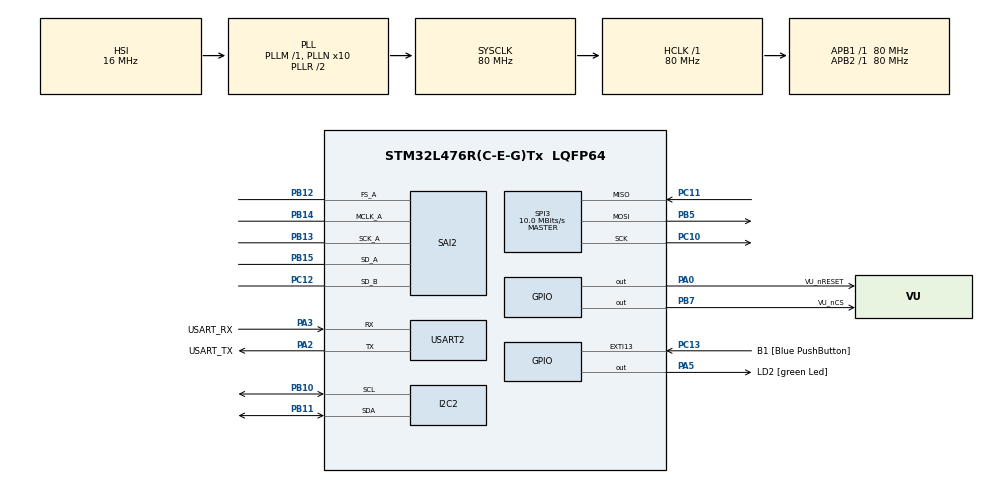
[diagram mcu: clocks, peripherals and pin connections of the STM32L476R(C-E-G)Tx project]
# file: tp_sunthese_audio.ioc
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Dma.Request0=SAI2_A
Dma.Request1=SAI2_B
Dma.SAI2_A.0.Direction=DMA_MEMORY_TO_PERIPH
Dma.SAI2_A.0.Instance=DMA1_Channel6
Dma.SAI2_A.0.MemDataAlignment=DMA_MDATAALIGN_WORD
Dma.SAI2_A.0.MemInc=DMA_MINC_ENABLE
Dma.SAI2_A.0.Mode=DMA_CIRCULAR
Dma.SAI2_A.0.PeriphDataAlignment=DMA_PDATAALIGN_WORD
Dma.SAI2_A.0.PeriphInc=DMA_PINC_DISABLE
Dma.SAI2_A.0.Priority=DMA_PRIORITY_HIGH
Dma.SAI2_B.1.Direction=DMA_PERIPH_TO_MEMORY
Dma.SAI2_B.1.Instance=DMA1_Channel7
Dma.SAI2_B.1.MemDataAlignment=DMA_MDATAALIGN_WORD
Dma.SAI2_B.1.MemInc=DMA_MINC_ENABLE
Dma.SAI2_B.1.Mode=DMA_NORMAL
Dma.SAI2_B.1.PeriphDataAlignment=DMA_PDATAALIGN_WORD
Dma.SAI2_B.1.PeriphInc=DMA_PINC_DISABLE
Dma.SAI2_B.1.Priority=DMA_PRIORITY_LOW
FREERTOS.Tasks01=defaultTask,0,128,StartDefaultTask,Default,NULL,Dynamic,NULL,NULL
FREERTOS.configUSE_NEWLIB_REENTRANT=1
I2C2.Timing=0x10D19CE4
Mcu.Family=STM32L4
Mcu.Name=STM32L476R(C-E-G)Tx
Mcu.Package=LQFP64
NVIC.DMA1_Channel6_IRQn=true\:5\:0\:false\:false\:true\:true\:false\:true\:true
NVIC.DMA1_Channel7_IRQn=true\:5\:0\:false\:false\:true\:true\:false\:true\:true
NVIC.PriorityGroup=NVIC_PRIORITYGROUP_4
NVIC.SAI2_IRQn=true\:5\:0\:false\:false\:true\:true\:true\:true\:true
NVIC.TIM7_IRQn=true\:15\:0\:false\:false\:true\:false\:false\:true\:true
NVIC.TimeBase=TIM7_IRQn
NVIC.TimeBaseIP=TIM7
NVIC.USART2_IRQn=true\:5\:0\:false\:false\:true\:true\:true\:true\:true
PA0.GPIO_Label=VU_nRESET
PA0.PinState=GPIO_PIN_SET
PA0.Signal=GPIO_Output
PA10.Signal=USART1_RX
PA13\ (JTMS-SWDIO).GPIO_Label=TMS
PA13\ (JTMS-SWDIO).Mode=Serial_Wire
PA13\ (JTMS-SWDIO).Signal=SYS_JTMS-SWDIO
PA14\ (JTCK-SWCLK).GPIO_Label=TCK
PA14\ (JTCK-SWCLK).Mode=Serial_Wire
PA14\ (JTCK-SWCLK).Signal=SYS_JTCK-SWCLK
PA2.GPIO_Label=USART_TX
PA2.GPIO_Mode=GPIO_MODE_AF_PP
PA2.GPIO_PuPd=GPIO_NOPULL
PA2.GPIO_Speed=GPIO_SPEED_FREQ_VERY_HIGH
PA2.Mode=Asynchronous
PA2.Signal=USART2_TX
PA3.GPIO_Label=USART_RX
PA3.GPIO_Mode=GPIO_MODE_AF_PP
PA3.GPIO_PuPd=GPIO_NOPULL
PA3.GPIO_Speed=GPIO_SPEED_FREQ_VERY_HIGH
PA3.Mode=Asynchronous
PA3.Signal=USART2_RX
PA5.GPIO_Label=LD2 [green Led]
PA5.GPIO_ModeDefaultOutputPP=GPIO_MODE_OUTPUT_PP
PA5.GPIO_PuPd=GPIO_NOPULL
PA5.GPIO_Speed=GPIO_SPEED_FREQ_LOW
PA5.Signal=GPIO_Output
PA9.Signal=USART1_TX
PB10.Mode=I2C
PB10.Signal=I2C2_SCL
PB11.Mode=I2C
PB11.Signal=I2C2_SDA
PB12.Mode=SAI_A_MasterWithClock
PB12.Signal=SAI2_FS_A
PB13.Mode=SAI_A_MasterWithClock
PB13.Signal=SAI2_SCK_A
PB14.Mode=SAI_A_MasterWithClock
PB14.Signal=SAI2_MCLK_A
PB15.Mode=SAI_A_MasterWithClock
PB15.Signal=SAI2_SD_A
PB3\ (JTDO-TRACESWO).GPIO_Label=SWO
PB3\ (JTDO-TRACESWO).Signal=SYS_JTDO-SWO
PB5.Mode=Full_Duplex_Master
PB5.Signal=SPI3_MOSI
PB7.GPIO_Label=VU_nCS
PB7.PinState=GPIO_PIN_SET
PB7.Signal=GPIO_Output
PC10.Mode=Full_Duplex_Master
PC10.Signal=SPI3_SCK
PC11.Mode=Full_Duplex_Master
PC11.Signal=SPI3_MISO
PC12.Mode=SAI_B_SyncSlave
PC12.Signal=SAI2_SD_B
PC13.GPIO_Label=B1 [Blue PushButton]
PC13.GPIO_ModeDefaultEXTI=GPIO_MODE_IT_FALLING
PC13.GPIO_PuPd=GPIO_NOPULL
PC13.Signal=GPXTI13
PC14-OSC32_IN\ (PC14).Mode=LSE-External-Oscillator
PC14-OSC32_IN\ (PC14).Signal=RCC_OSC32_IN
PC15-OSC32_OUT\ (PC15).Mode=LSE-External-Oscillator
PC15-OSC32_OUT\ (PC15).Signal=RCC_OSC32_OUT
PH0-OSC_IN\ (PH0).Signal=RCC_OSC_IN
PH1-OSC_OUT\ (PH1).Signal=RCC_OSC_OUT
ProjectManager.HeapSize=0x200
ProjectManager.StackSize=0x400
ProjectManager.TargetToolchain=STM32CubeIDE
RCC.ADCFreq_Value=104000000
RCC.AHBFreq_Value=80000000
RCC.APB1Freq_Value=80000000
RCC.APB1TimFreq_Value=80000000
RCC.APB2Freq_Value=80000000
RCC.APB2TimFreq_Value=80000000
RCC.CortexFreq_Value=80000000
RCC.HCLKFreq_Value=80000000
RCC.HSE_VALUE=8000000
RCC.HSI_VALUE=16000000
RCC.MSI_VALUE=4000000
RCC.PLLN=10
RCC.PLLSAI1N=13
RCC.PLLSAI1P=RCC_PLLP_DIV17
RCC.PLLSourceVirtual=RCC_PLLSOURCE_HSI
RCC.PREFETCH_ENABLE=1
RCC.SYSCLKFreq_VALUE=80000000
RCC.SYSCLKSource=RCC_SYSCLKSOURCE_PLLCLK
RCC.USBFreq_Value=104000000
RCC.VCOOutputFreq_Value=160000000
SAI2.AudioFrequency-SAI_A_MasterWithClock=SAI_AUDIO_FREQUENCY_48K
SAI2.ErrorAudioFreq-SAI_A_MasterWithClock=-0.42 %
SAI2.InitProtocol-SAI_A_MasterWithClock=Enable
SAI2.InitProtocol-SAI_B_SyncSlave=Enable
SAI2.Instance-SAI_A_MasterWithClock=SAI$Index_Block_A
SAI2.Instance-SAI_B_SyncSlave=SAI$Index_Block_B
SAI2.MClockEnable-SAI_A_MasterWithClock=SAI_MASTERCLOCK_ENABLE
SAI2.RealAudioFreq-SAI_A_MasterWithClock=47.794 KHz
SAI2.VirtualMode-SAI_A_MasterWithClock=VM_MASTER
SAI2.VirtualMode-SAI_B_SyncSlave=VM_SLAVE
SAI2.VirtualProtocol-SAI_A_BASIC=VM_BASIC_PROTOCOL
SAI2.VirtualProtocol-SAI_B_BASIC=VM_BASIC_PROTOCOL
SPI3.BaudRatePrescaler=SPI_BAUDRATEPRESCALER_8
SPI3.CalculateBaudRate=10.0 MBits/s
SPI3.DataSize=SPI_DATASIZE_8BIT
SPI3.Direction=SPI_DIRECTION_2LINES
SPI3.Mode=SPI_MODE_MASTER
SPI3.VirtualType=VM_MASTER
USART2.VirtualMode-Asynchronous=VM_ASYNC
VP_FREERTOS_VS_CMSIS_V1.Mode=CMSIS_V1
VP_SAI2_VP_$IpInstance_SAIA_SAI_BASIC.Mode=SAI_A_BASIC
VP_SAI2_VP_$IpInstance_SAIB_SAI_BASIC.Mode=SAI_B_BASIC
VP_SYS_VS_tim7.Mode=TIM7
board=NUCLEO-L476RG

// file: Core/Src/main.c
/* USER CODE BEGIN Header */
/**
 ******************************************************************************
 * @file           : main.c
 * @brief          : Main program body
 ******************************************************************************
 * @attention
 *
 * Copyright (c) 2025 STMicroelectronics.
 * All rights reserved.
 *
 * This software is licensed under terms that can be found in the LICENSE file
 * in the root directory of this software component.
 * If no LICENSE file comes with this software, it is provided AS-IS.
 *
 ******************************************************************************
 */
/* USER CODE END Header */
#include "main.h"
#include "cmsis_os.h"
#include "dma.h"
#include "i2c.h"
#include "sai.h"
#include "spi.h"
#include "usart.h"
#include "gpio.h"

/* USER CODE BEGIN Includes */
#include <string.h>
#include <stdio.h>
#include "shell.h"
#include "drv_usart2.h"
#include"led.h"
#include "sgtl5000.h"
#include <math.h>
/* USER CODE END Includes */

/* USER CODE BEGIN PTD */
I2C_HandleTypeDef h_i2c2;
h_sgtl5000_t sgtl5000_handle;
LED_Driver_t led_driver;
extern SPI_HandleTypeDef hspi3;
/* USER CODE END PTD */

/* USER CODE BEGIN PD */
#define AUDIO_BLOCK_SIZE 24
#define AUDIO_BUFFER_SIZE (AUDIO_BLOCK_SIZE * 4)

// Defines for triangular wave generation
#define SAMPLE_RATE_HZ 48000
#define TRIANGLE_TEST_FREQ_HZ 440
#define TRIANGLE_MAX_AMPLITUDE 15000
#define TRIANGLE_STEP ((2 * TRIANGLE_MAX_AMPLITUDE) / (SAMPLE_RATE_HZ / TRIANGLE_TEST_FREQ_HZ))

/* USER CODE END PD */

/* USER CODE BEGIN PV */
uint8_t rxbuffer;
SemaphoreHandle_t uartRxSemaphore;
h_shell_t h_shell;
uint16_t audio_tx_buffer[AUDIO_BUFFER_SIZE];
uint16_t audio_rx_buffer[AUDIO_BUFFER_SIZE];

// Global variables for triangle wave generation
int16_t triangle_current_value = 0;
int8_t triangle_direction = 1;

/* USER CODE END PV */

void SystemClock_Config(void);
void PeriphCommonClock_Config(void);
void MX_FREERTOS_Init(void);

/* USER CODE BEGIN 0 */
int __io_putchar(int chr)
{
	HAL_UART_Transmit(&huart2, (uint8_t*) &chr, 1, HAL_MAX_DELAY);
	return chr;
}

//*******QUESTION 6 ********
/*TaskHandle_t h_shell_task;

void ShellTask(void  * argument)
{

	shell_init();
	shell_run();

}
 */
void HAL_UART_RxCpltCallback(UART_HandleTypeDef *huart)
{
	if (huart->Instance == USART2)
	{
		BaseType_t xHigherPriorityTaskWoken = pdFALSE;

		xSemaphoreGiveFromISR(uartRxSemaphore, &xHigherPriorityTaskWoken);
		HAL_UART_Receive_IT(&huart2, &rxbuffer, 1);

		portYIELD_FROM_ISR(xHigherPriorityTaskWoken);
	}
}
int fonction(h_shell_t * h_shell, int argc, char ** argv)
{
	int size = snprintf (h_shell->print_buffer, BUFFER_SIZE, "Je suis une fonction bidon\r\n");
	h_shell->drv.transmit(h_shell->print_buffer, size);

	return 0;
}

void init_shell(void *unused)
{
	h_shell.drv.receive = drv_uart2_receive;
	h_shell.drv.transmit = drv_uart2_transmit;

	shell_init(&h_shell);
	shell_add(&h_shell, 'l', shell_control_led, "Control LEDs: l <port> <pin> <state>");

	const char *startup_msg = "\r\nType commands:\r\n";
	h_shell.drv.transmit(startup_msg, strlen(startup_msg));
}

void Task_control_Led(void *argument)
{

	LED_Driver_Init(&led_driver);
	init_shell(NULL);
	shell_run(&h_shell);
}

void Task_Chenillard(void *unused)
{

	LED_Driver_Init(&led_driver);
	printf("\r\n Chenillard dans une task\r\n");
	while(1){
		led_driver.chenillard();
	}
}

void task_read_CHIP_ID(void *unused) {
	uint8_t SGTL5000_I2C_ADDR = 0x14;
	uint8_t CHIP_ID_Value[2];
	uint16_t CHIP_ID_Reg = 0x0000;
	while(1){
		HAL_StatusTypeDef status = HAL_I2C_Mem_Read(&hi2c2, SGTL5000_I2C_ADDR,
				CHIP_ID_Reg, I2C_MEMADD_SIZE_16BIT,
				CHIP_ID_Value, 2, 1000);

		if (status == HAL_OK) {
			printf("CHIP_ID = 0x%02X%02X\n", CHIP_ID_Value[0], CHIP_ID_Value[1]);
		} else {
			printf("Erreur de lecture CHIP_ID : %d\n", status);
		}
		HAL_Delay(500);
	}
}

void sgtl5000Init(void)
{
	sgtl5000_handle.hi2c = &hi2c2; // Correction: Utilisation de hi2c2 généré par CubeMX
	sgtl5000_handle.i2c_address = 0x14;

	HAL_StatusTypeDef ret = sgtl5000_init(&sgtl5000_handle);
	if (ret == HAL_OK) {
		printf("SGTL5000 initialized successfully!\r\n");
		HAL_Delay(100);
	} else {
		printf("SGTL5000 initialization failed. Error: %d\r\n", ret);
	}
}

// ---------- SAI Transmit Half-Complete Callback (LOGIQUE AMIE ADAPTÉE) ----------
void HAL_SAI_TxHalfCpltCallback(SAI_HandleTypeDef *hsai)
{
	if (hsai->Instance == SAI2_Block_A)
	{

		for (int i = 0; i < AUDIO_BLOCK_SIZE; i++) {
			// Generate triangle wave for current sample
			triangle_current_value += triangle_direction * TRIANGLE_STEP;

			if (triangle_current_value >= TRIANGLE_MAX_AMPLITUDE) {
				triangle_current_value = TRIANGLE_MAX_AMPLITUDE;
				triangle_direction = -1;
			} else if (triangle_current_value <= -TRIANGLE_MAX_AMPLITUDE) {
				triangle_current_value = -TRIANGLE_MAX_AMPLITUDE;
				triangle_direction = 1;
			}
			uint16_t output_sample = (uint16_t)triangle_current_value;

			// Fill both left and right channels with the same sample
			audio_tx_buffer[(2 * i)] = output_sample;     // Left Channel
			audio_tx_buffer[(2 * i) + 1] = output_sample; // Right Channel
		}
	}
}

// SAI Transmit Complete Callback
void HAL_SAI_TxCpltCallback(SAI_HandleTypeDef *hsai)
{
	if (hsai->Instance == SAI2_Block_A)
	{

		for (int i = 0; i < AUDIO_BLOCK_SIZE; i++) {
			// Generate triangle wave for current sample
			triangle_current_value += triangle_direction * TRIANGLE_STEP;

			if (triangle_current_value >= TRIANGLE_MAX_AMPLITUDE) {
				triangle_current_value = TRIANGLE_MAX_AMPLITUDE; // Cap at max
				triangle_direction = -1; // Change direction to falling
			} else if (triangle_current_value <= -TRIANGLE_MAX_AMPLITUDE) {
				triangle_current_value = -TRIANGLE_MAX_AMPLITUDE; // Cap at min
				triangle_direction = 1; // Change direction to rising
			}

			uint16_t output_sample = (uint16_t)triangle_current_value;

			// Fill both left and right channels with the same sample
			audio_tx_buffer[AUDIO_BLOCK_SIZE * 2 + (2 * i)] = output_sample;     // Left Channel
			audio_tx_buffer[AUDIO_BLOCK_SIZE * 2 + (2 * i) + 1] = output_sample; // Right Channel
		}
	}
}

void HAL_SAI_RxHalfCpltCallback(SAI_HandleTypeDef *hsai)
{
  if (hsai->Instance == SAI2_Block_B)
  {
    // Process the first half of the RX buffer
    // Copy first half of RX buffer to first half of TX buffer
    for (int i = 0; i < AUDIO_BLOCK_SIZE * 2; i++) {
        audio_tx_buffer[i] = audio_rx_buffer[i];
    }
  }
}

void HAL_SAI_RxCpltCallback(SAI_HandleTypeDef *hsai)
{
  if (hsai->Instance == SAI2_Block_B)
  {
    // Process the second half of the RX buffer
    // Copy second half of RX buffer to second half of TX buffer
    for (int i = 0; i < AUDIO_BLOCK_SIZE * 2; i++) {
        audio_tx_buffer[AUDIO_BLOCK_SIZE * 2 + i] = audio_rx_buffer[AUDIO_BLOCK_SIZE * 2 + i];
    }
  }
}
/* USER CODE END 0 */

int main(void)
{

  /* MCU Configuration--------------------------------------------------------*/

  /* Reset of all peripherals, Initializes the Flash interface and the Systick. */
  HAL_Init();

  /* Configure the system clock */
  SystemClock_Config();

  /* Configure the peripherals common clocks */
  PeriphCommonClock_Config();

  /* Initialize all configured peripherals */
  MX_GPIO_Init();
  MX_DMA_Init();
  MX_USART2_UART_Init();
  MX_SPI3_Init();
  MX_SAI2_Init();
  MX_I2C2_Init();
  /* USER CODE BEGIN 2 */
	__HAL_SAI_ENABLE(&hsai_BlockA2);
	init_MCP23017();
	//LED_Driver_Init(&led_driver);
	sgtl5000_handle.hi2c = &hi2c2;
	sgtl5000_handle.i2c_address = SGTL5000_I2C_ADDR_WRITE;
	sgtl5000_init(&sgtl5000_handle);

	// Start SAI DMA transfers
	HAL_SAI_Transmit_DMA(&hsai_BlockA2, (uint8_t*)audio_tx_buffer, AUDIO_BUFFER_SIZE);
	HAL_SAI_Receive_DMA(&hsai_BlockB2, (uint8_t*)audio_rx_buffer, AUDIO_BUFFER_SIZE);

	//*******QUESTION 4 ********
	//printf("Test printf sur USART2 !\r\n");

	//*******QUESTION 6 ********
	/*

	if (xTaskCreate(ShellTask,"shell", 256, NULL,1, &h_shell_task)!=pdPASS)
	{
		printf("error creation task shell\r\n");
		Error_Handler();
	}

	uartRxSemaphore = xSemaphoreCreateBinary();
	if (uartRxSemaphore == NULL)
	{
	    Error_Handler();
	}

	vTaskStartScheduler();*/

	/*h_shell.drv.receive = drv_uart2_receive;
	h_shell.drv.transmit = drv_uart2_transmit;

	shell_init(&h_shell);
	shell_add(&h_shell, 'f', fonction, "Une fonction inutile");
	shell_run(&h_shell);*/

	//xTaskCreate(Task_Chenillard,"Task_Chenillard", 256, NULL, 1, NULL);
	//xTaskCreate(Task_control_Led,"Task_control_led", 256, NULL, 2, NULL);
	//xTaskCreate(task_read_CHIP_ID, "Read_CHIP_ID", 256, NULL, 3, NULL);

  /* USER CODE END 2 */

  /* Call init function for freertos objects (in cmsis_os2.c) */
  MX_FREERTOS_Init();

  /* Start scheduler */
  osKernelStart();

  /* We should never get here as control is now taken by the scheduler */

  /* Infinite loop */
	while (1)
	{

    /* USER CODE BEGIN 3 */

		/*QUESTION 2 ********
		HAL_GPIO_WritePin(GPIOA,GPIO_PIN_5, GPIO_PIN_SET);
		HAL_Delay(1000);
		HAL_GPIO_WritePin(GPIOA,GPIO_PIN_5, GPIO_PIN_RESET);
		HAL_Delay(1000);*/

		/*=============================================TEST LEDS SANS STRUCTURE==============================================================
		Blink_All_LEDs();
		LED_Chenillard();*/

		/*=============================================TEST LEDS AVEC STRUCTURE=============================================================*/

		//led_driver.blink_all();
	}
  /* USER CODE END 3 */
}

void SystemClock_Config(void)
{
  RCC_OscInitTypeDef RCC_OscInitStruct = {0};
  RCC_ClkInitTypeDef RCC_ClkInitStruct = {0};

  /** Configure the main internal regulator output voltage
  */
  if (HAL_PWREx_ControlVoltageScaling(PWR_REGULATOR_VOLTAGE_SCALE1) != HAL_OK)
  {
    Error_Handler();
  }

  /** Initializes the RCC Oscillators according to the specified parameters
  * in the RCC_OscInitTypeDef structure.
  */
  RCC_OscInitStruct.OscillatorType = RCC_OSCILLATORTYPE_HSI;
  RCC_OscInitStruct.HSIState = RCC_HSI_ON;
  RCC_OscInitStruct.HSICalibrationValue = RCC_HSICALIBRATION_DEFAULT;
  RCC_OscInitStruct.PLL.PLLState = RCC_PLL_ON;
  RCC_OscInitStruct.PLL.PLLSource = RCC_PLLSOURCE_HSI;
  RCC_OscInitStruct.PLL.PLLM = 1;
  RCC_OscInitStruct.PLL.PLLN = 10;
  RCC_OscInitStruct.PLL.PLLP = RCC_PLLP_DIV7;
  RCC_OscInitStruct.PLL.PLLQ = RCC_PLLQ_DIV2;
  RCC_OscInitStruct.PLL.PLLR = RCC_PLLR_DIV2;
  if (HAL_RCC_OscConfig(&RCC_OscInitStruct) != HAL_OK)
  {
    Error_Handler();
  }

  /** Initializes the CPU, AHB and APB buses clocks
  */
  RCC_ClkInitStruct.ClockType = RCC_CLOCKTYPE_HCLK|RCC_CLOCKTYPE_SYSCLK
                              |RCC_CLOCKTYPE_PCLK1|RCC_CLOCKTYPE_PCLK2;
  RCC_ClkInitStruct.SYSCLKSource = RCC_SYSCLKSOURCE_PLLCLK;
  RCC_ClkInitStruct.AHBCLKDivider = RCC_SYSCLK_DIV1;
  RCC_ClkInitStruct.APB1CLKDivider = RCC_HCLK_DIV1;
  RCC_ClkInitStruct.APB2CLKDivider = RCC_HCLK_DIV1;

  if (HAL_RCC_ClockConfig(&RCC_ClkInitStruct, FLASH_LATENCY_4) != HAL_OK)
  {
    Error_Handler();
  }
}

void PeriphCommonClock_Config(void)
{
  RCC_PeriphCLKInitTypeDef PeriphClkInit = {0};

  /** Initializes the peripherals clock
  */
  PeriphClkInit.PeriphClockSelection = RCC_PERIPHCLK_SAI2;
  PeriphClkInit.Sai2ClockSelection = RCC_SAI2CLKSOURCE_PLLSAI1;
  PeriphClkInit.PLLSAI1.PLLSAI1Source = RCC_PLLSOURCE_HSI;
  PeriphClkInit.PLLSAI1.PLLSAI1M = 1;
  PeriphClkInit.PLLSAI1.PLLSAI1N = 13;
  PeriphClkInit.PLLSAI1.PLLSAI1P = RCC_PLLP_DIV17;
  PeriphClkInit.PLLSAI1.PLLSAI1Q = RCC_PLLQ_DIV2;
  PeriphClkInit.PLLSAI1.PLLSAI1R = RCC_PLLR_DIV2;
  PeriphClkInit.PLLSAI1.PLLSAI1ClockOut = RCC_PLLSAI1_SAI1CLK;
  if (HAL_RCCEx_PeriphCLKConfig(&PeriphClkInit) != HAL_OK)
  {
    Error_Handler();
  }
}

void HAL_TIM_PeriodElapsedCallback(TIM_HandleTypeDef *htim)
{
  if (htim->Instance == TIM7) {
    HAL_IncTick();
  }
}

void Error_Handler(void)
{
	__disable_irq();
	while (1)
	{
	}
}
